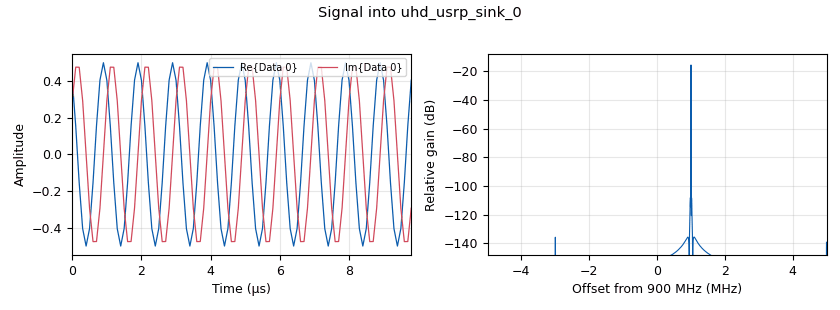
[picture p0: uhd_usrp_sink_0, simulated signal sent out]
options:
  parameters:
    generate_options: qt_gui
    id: transmitter_flowgraph
    output_language: python
    title: Not titled yet
  states: {}

blocks:
- name: center_freq
  id: variable
  parameters:
    value: 900e6
  states: {}
- name: samp_rate
  id: variable
  parameters:
    value: 10e6
  states: {}
- name: variable_qtgui_range_0
  id: variable_qtgui_range
  parameters:
    start: 400e6
    step: 1e6
    stop: 4400e6
    value: 900e6
  states: {}
- name: analog_sig_source_x_0
  id: analog_sig_source_x
  parameters:
    amp: '0.5'
    freq: 1e6
    offset: '0'
    phase: '0'
    samp_rate: samp_rate
    type: complex
    waveform: analog.GR_COS_WAVE
  states: {}
- name: uhd_usrp_sink_0
  id: uhd_usrp_sink
  parameters:
    ant0: TX/RX
    center_freq0: center_freq
    clock_rate: 0e6
    dev_addr: addr=192.168.10.2
    gain0: '10'
    samp_rate: samp_rate
    sync: sync
    type: fc32
  states: {}

connections:
- [analog_sig_source_x_0, '0', uhd_usrp_sink_0, '0']

metadata:
  file_format: 1
  grc_version: 3.10.12.0
